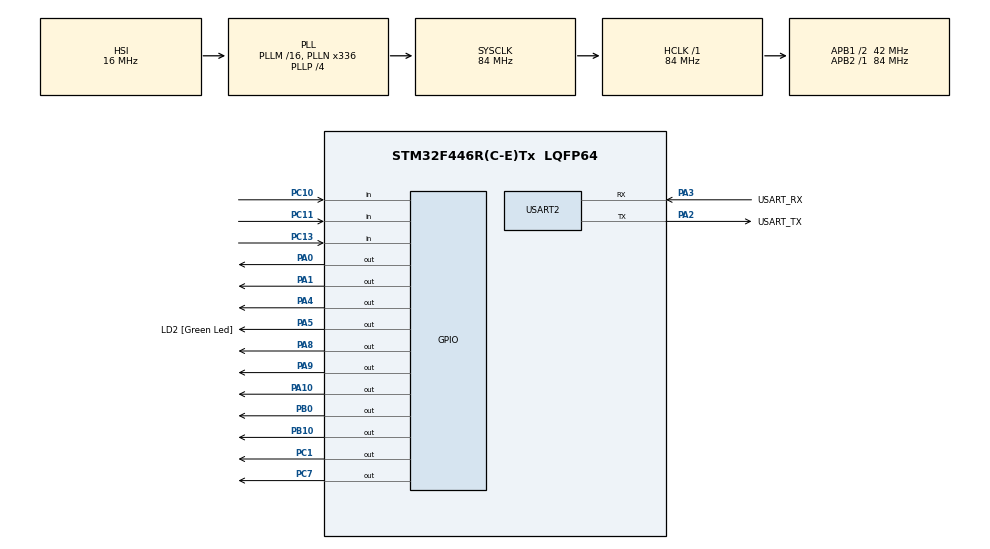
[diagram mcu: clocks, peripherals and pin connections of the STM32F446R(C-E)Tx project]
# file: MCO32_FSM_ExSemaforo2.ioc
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Mcu.Family=STM32F4
Mcu.Name=STM32F446R(C-E)Tx
Mcu.Package=LQFP64
NVIC.PriorityGroup=NVIC_PRIORITYGROUP_0
PA0-WKUP.Signal=GPIO_Output
PA1.Signal=GPIO_Output
PA10.Signal=GPIO_Output
PA13.GPIO_Label=TMS
PA13.Mode=Serial_Wire
PA13.Signal=SYS_JTMS-SWDIO
PA14.GPIO_Label=TCK
PA14.Mode=Serial_Wire
PA14.Signal=SYS_JTCK-SWCLK
PA2.GPIO_Label=USART_TX
PA2.Mode=Asynchronous
PA2.Signal=USART2_TX
PA3.GPIO_Label=USART_RX
PA3.Mode=Asynchronous
PA3.Signal=USART2_RX
PA4.Signal=GPIO_Output
PA5.GPIO_Label=LD2 [Green Led]
PA5.Signal=GPIO_Output
PA8.Signal=GPIO_Output
PA9.Signal=GPIO_Output
PB0.Signal=GPIO_Output
PB10.Signal=GPIO_Output
PB3.GPIO_Label=SWO
PB3.Signal=SYS_JTDO-SWO
PC1.Signal=GPIO_Output
PC10.GPIO_PuPd=GPIO_PULLUP
PC10.Signal=GPIO_Input
PC11.GPIO_PuPd=GPIO_PULLUP
PC11.Signal=GPIO_Input
PC13.GPIO_PuPd=GPIO_PULLUP
PC13.Signal=GPIO_Input
PC14-OSC32_IN.Mode=LSE-External-Oscillator
PC14-OSC32_IN.Signal=RCC_OSC32_IN
PC15-OSC32_OUT.Mode=LSE-External-Oscillator
PC15-OSC32_OUT.Signal=RCC_OSC32_OUT
PC7.Signal=GPIO_Output
PH0-OSC_IN.Mode=HSE-External-Oscillator
PH0-OSC_IN.Signal=RCC_OSC_IN
PH1-OSC_OUT.Mode=HSE-External-Oscillator
PH1-OSC_OUT.Signal=RCC_OSC_OUT
ProjectManager.HeapSize=0x200
ProjectManager.StackSize=0x400
ProjectManager.TargetToolchain=STM32CubeIDE
RCC.48MHZClocksFreq_Value=84000000
RCC.AHBFreq_Value=84000000
RCC.APB1CLKDivider=RCC_HCLK_DIV2
RCC.APB1Freq_Value=42000000
RCC.APB1TimFreq_Value=84000000
RCC.APB2Freq_Value=84000000
RCC.APB2TimFreq_Value=84000000
RCC.CortexFreq_Value=84000000
RCC.FLatency-AdvancedSettings=FLASH_LATENCY_2
RCC.HCLKFreq_Value=84000000
RCC.HSE_VALUE=8000000
RCC.HSI_VALUE=16000000
RCC.PLLN=336
RCC.PLLP=RCC_PLLP_DIV4
RCC.SYSCLKFreq_VALUE=84000000
RCC.SYSCLKSource=RCC_SYSCLKSOURCE_PLLCLK
RCC.USBFreq_Value=168000000
RCC.VCOOutputFreq_Value=336000000
TIM1.AutoReloadPreload=TIM_AUTORELOAD_PRELOAD_ENABLE
TIM1.Period=0xFFFF-1
TIM1.Prescaler=84-1
USART2.VirtualMode=VM_ASYNC
VP_TIM1_VS_ClockSourceINT.Mode=Internal
board=NUCLEO-F446RE

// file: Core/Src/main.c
/* USER CODE BEGIN Header */
/**
  ******************************************************************************
  * @file           : main.c
  * @brief          : Main program body
  ******************************************************************************
  * @attention
  *
  * Copyright (c) 2022 STMicroelectronics.
  * All rights reserved.
  *
  * This software is licensed under terms that can be found in the LICENSE file
  * in the root directory of this software component.
  * If no LICENSE file comes with this software, it is provided AS-IS.
  *
  ******************************************************************************
  */
/* USER CODE END Header */
#include "main.h"

/* USER CODE BEGIN Includes */
#include "fonts.h"
#include "tft.h"
#include "user_setting.h"
#include "functions.h"
#include "stdio.h"
/* USER CODE END Includes */

/* USER CODE BEGIN PD */
#define GREY 0x2104
/* USER CODE END PD */

TIM_HandleTypeDef htim1;

UART_HandleTypeDef huart2;

/* USER CODE BEGIN PV */
uint16_t ID = 0;
uint8_t sw1 = 0;
uint8_t sw2 = 0;
/* USER CODE END PV */

void SystemClock_Config(void);
static void MX_GPIO_Init(void);
static void MX_USART2_UART_Init(void);
static void MX_TIM1_Init(void);
/* USER CODE BEGIN PFP */
void drawScenery();
void transition(uint16_t veh, uint16_t ped);
/* USER CODE END PFP */

/* USER CODE BEGIN 0 */

//Representa um estado da FSM
struct State {
	unsigned int out[2]; //Saída para o estado
	unsigned short wait; //Tempo de espera do estado
	unsigned char next[4]; //Vetor de próximos estados
};
typedef const struct State tipoS;

//Apelidos para referenciar os estados da FSM
#define Vm 0 //Vermelho
#define Vd 1 //Verde
#define Am 2 //Amarelo
#define Ap 3 //Apagado
#define Vl 4 //Vermelho longo

//Estrutura de dados que corresponde ao diagrama de transição de estados da FSM
tipoS Fsm[5] = {	//saídaV	saídaP		wait	next=00	next=01 next=10 next = 11
					{{RED, 		GREEN}, 	5000, 	{Vd, 	Ap,		Vl,		Ap}},	//Estado Vm
					{{GREEN, 	RED}, 		5000, 	{Am, 	Am,		Am,		Am}},	//Estado Vd
					{{YELLOW, 	RED},		1000, 	{Vm, 	Ap,		Vm,		Ap}},	//Estado Am
					{{BLACK, 	RED}, 		1000, 	{Vm, 	Am,		Vm,		Am}},	//Estado Ap
					{{RED, 		GREEN}, 	5000, 	{Vd, 	Ap,		Vd,		Ap}}	//Estado Vl
};

unsigned char cState;

/* USER CODE END 0 */

int main(void)
{

  /* MCU Configuration--------------------------------------------------------*/

  /* Reset of all peripherals, Initializes the Flash interface and the Systick. */
  HAL_Init();

  /* USER CODE BEGIN Init */
  //tft_gpio_init();
  /* USER CODE END Init */

  /* Configure the system clock */
  SystemClock_Config();

  /* Initialize all configured peripherals */
  MX_GPIO_Init();
  MX_USART2_UART_Init();
  MX_TIM1_Init();
  /* USER CODE BEGIN 2 */
  /* Sequência de inicialização do LCD */
  tft_gpio_init(); //Inicializa os GPIOs do LCD (evita uso do CubeMX)
  HAL_TIM_Base_Start(&htim1); //Inicializa o Timer1 (base de tempo de us do LCD)
  ID = tft_readID(); //Lê o ID do LCD (poderia ser chamada pela inicialização do LCD)
  HAL_Delay(100);
  tft_init(ID); //Inicializa o LCD de acordo com seu ID
  setRotation(1); //Ajusta a orientação da tela (paisagem)
  drawScenery();

  cState = Vm;

  /* USER CODE END 2 */

  /* Infinite loop */
  /* USER CODE BEGIN WHILE */
  while (1)
  {
	  //1. Saída baseada no estado atual
	  transition(Fsm[cState].out[0], Fsm[cState].out[1]);

	  //2. Aguarda o tempo predefinido para o estado
	  HAL_Delay(Fsm[cState].wait);

	  //3. Lê as entradas
	  sw1 = HAL_GPIO_ReadPin(GPIOC, GPIO_PIN_10); //Entrada SW1 (botoeira de pedestres)
	  sw2 = HAL_GPIO_ReadPin(GPIOC, GPIO_PIN_11); //Entrada SW2 (sinal de falha)

	  //4. Vai para o próximo estado, que depende da entrada e do estado atual
	  cState = Fsm[cState].next[sw1+(sw2<<1)];

    /* USER CODE END WHILE */

  }
}

void SystemClock_Config(void)
{
  RCC_OscInitTypeDef RCC_OscInitStruct = {0};
  RCC_ClkInitTypeDef RCC_ClkInitStruct = {0};

  /** Configure the main internal regulator output voltage
  */
  __HAL_RCC_PWR_CLK_ENABLE();
  __HAL_PWR_VOLTAGESCALING_CONFIG(PWR_REGULATOR_VOLTAGE_SCALE3);

  /** Initializes the RCC Oscillators according to the specified parameters
  * in the RCC_OscInitTypeDef structure.
  */
  RCC_OscInitStruct.OscillatorType = RCC_OSCILLATORTYPE_HSI;
  RCC_OscInitStruct.HSIState = RCC_HSI_ON;
  RCC_OscInitStruct.HSICalibrationValue = RCC_HSICALIBRATION_DEFAULT;
  RCC_OscInitStruct.PLL.PLLState = RCC_PLL_ON;
  RCC_OscInitStruct.PLL.PLLSource = RCC_PLLSOURCE_HSI;
  RCC_OscInitStruct.PLL.PLLM = 16;
  RCC_OscInitStruct.PLL.PLLN = 336;
  RCC_OscInitStruct.PLL.PLLP = RCC_PLLP_DIV4;
  RCC_OscInitStruct.PLL.PLLQ = 2;
  RCC_OscInitStruct.PLL.PLLR = 2;
  if (HAL_RCC_OscConfig(&RCC_OscInitStruct) != HAL_OK)
  {
    Error_Handler();
  }

  /** Initializes the CPU, AHB and APB buses clocks
  */
  RCC_ClkInitStruct.ClockType = RCC_CLOCKTYPE_HCLK|RCC_CLOCKTYPE_SYSCLK
                              |RCC_CLOCKTYPE_PCLK1|RCC_CLOCKTYPE_PCLK2;
  RCC_ClkInitStruct.SYSCLKSource = RCC_SYSCLKSOURCE_PLLCLK;
  RCC_ClkInitStruct.AHBCLKDivider = RCC_SYSCLK_DIV1;
  RCC_ClkInitStruct.APB1CLKDivider = RCC_HCLK_DIV2;
  RCC_ClkInitStruct.APB2CLKDivider = RCC_HCLK_DIV1;

  if (HAL_RCC_ClockConfig(&RCC_ClkInitStruct, FLASH_LATENCY_2) != HAL_OK)
  {
    Error_Handler();
  }
}

static void MX_TIM1_Init(void)
{

  TIM_ClockConfigTypeDef sClockSourceConfig = {0};
  TIM_MasterConfigTypeDef sMasterConfig = {0};

  htim1.Instance = TIM1;
  htim1.Init.Prescaler = 84-1;
  htim1.Init.CounterMode = TIM_COUNTERMODE_UP;
  htim1.Init.Period = 0xFFFF-1;
  htim1.Init.ClockDivision = TIM_CLOCKDIVISION_DIV1;
  htim1.Init.RepetitionCounter = 0;
  htim1.Init.AutoReloadPreload = TIM_AUTORELOAD_PRELOAD_ENABLE;
  if (HAL_TIM_Base_Init(&htim1) != HAL_OK)
  {
    Error_Handler();
  }
  sClockSourceConfig.ClockSource = TIM_CLOCKSOURCE_INTERNAL;
  if (HAL_TIM_ConfigClockSource(&htim1, &sClockSourceConfig) != HAL_OK)
  {
    Error_Handler();
  }
  sMasterConfig.MasterOutputTrigger = TIM_TRGO_RESET;
  sMasterConfig.MasterSlaveMode = TIM_MASTERSLAVEMODE_DISABLE;
  if (HAL_TIMEx_MasterConfigSynchronization(&htim1, &sMasterConfig) != HAL_OK)
  {
    Error_Handler();
  }

}

static void MX_USART2_UART_Init(void)
{

  huart2.Instance = USART2;
  huart2.Init.BaudRate = 115200;
  huart2.Init.WordLength = UART_WORDLENGTH_8B;
  huart2.Init.StopBits = UART_STOPBITS_1;
  huart2.Init.Parity = UART_PARITY_NONE;
  huart2.Init.Mode = UART_MODE_TX_RX;
  huart2.Init.HwFlowCtl = UART_HWCONTROL_NONE;
  huart2.Init.OverSampling = UART_OVERSAMPLING_16;
  if (HAL_UART_Init(&huart2) != HAL_OK)
  {
    Error_Handler();
  }

}

static void MX_GPIO_Init(void)
{
  GPIO_InitTypeDef GPIO_InitStruct = {0};

  /* GPIO Ports Clock Enable */
  __HAL_RCC_GPIOC_CLK_ENABLE();
  __HAL_RCC_GPIOH_CLK_ENABLE();
  __HAL_RCC_GPIOA_CLK_ENABLE();
  __HAL_RCC_GPIOB_CLK_ENABLE();

  /*Configure GPIO pin Output Level */
  HAL_GPIO_WritePin(GPIOC, GPIO_PIN_1|GPIO_PIN_7, GPIO_PIN_RESET);

  /*Configure GPIO pin Output Level */
  HAL_GPIO_WritePin(GPIOA, GPIO_PIN_0|GPIO_PIN_1|GPIO_PIN_4|LD2_Pin
                          |GPIO_PIN_8|GPIO_PIN_9|GPIO_PIN_10, GPIO_PIN_RESET);

  /*Configure GPIO pin Output Level */
  HAL_GPIO_WritePin(GPIOB, GPIO_PIN_0|GPIO_PIN_10, GPIO_PIN_RESET);

  /*Configure GPIO pins : PC13 PC10 PC11 */
  GPIO_InitStruct.Pin = GPIO_PIN_13|GPIO_PIN_10|GPIO_PIN_11;
  GPIO_InitStruct.Mode = GPIO_MODE_INPUT;
  GPIO_InitStruct.Pull = GPIO_PULLUP;
  HAL_GPIO_Init(GPIOC, &GPIO_InitStruct);

  /*Configure GPIO pins : PC1 PC7 */
  GPIO_InitStruct.Pin = GPIO_PIN_1|GPIO_PIN_7;
  GPIO_InitStruct.Mode = GPIO_MODE_OUTPUT_PP;
  GPIO_InitStruct.Pull = GPIO_NOPULL;
  GPIO_InitStruct.Speed = GPIO_SPEED_FREQ_LOW;
  HAL_GPIO_Init(GPIOC, &GPIO_InitStruct);

  /*Configure GPIO pins : PA0 PA1 PA4 LD2_Pin
                           PA8 PA9 PA10 */
  GPIO_InitStruct.Pin = GPIO_PIN_0|GPIO_PIN_1|GPIO_PIN_4|LD2_Pin
                          |GPIO_PIN_8|GPIO_PIN_9|GPIO_PIN_10;
  GPIO_InitStruct.Mode = GPIO_MODE_OUTPUT_PP;
  GPIO_InitStruct.Pull = GPIO_NOPULL;
  GPIO_InitStruct.Speed = GPIO_SPEED_FREQ_LOW;
  HAL_GPIO_Init(GPIOA, &GPIO_InitStruct);

  /*Configure GPIO pins : PB0 PB10 */
  GPIO_InitStruct.Pin = GPIO_PIN_0|GPIO_PIN_10;
  GPIO_InitStruct.Mode = GPIO_MODE_OUTPUT_PP;
  GPIO_InitStruct.Pull = GPIO_NOPULL;
  GPIO_InitStruct.Speed = GPIO_SPEED_FREQ_LOW;
  HAL_GPIO_Init(GPIOB, &GPIO_InitStruct);

}

/* USER CODE BEGIN 4 */

/**
 * @brief Desenha o cenário
 */
void drawScenery()
{
	fillScreen(WHITE); //Preenche a tela em branco
	fillRect(35, 35, 75, 180, GREY); //Semáforo de veículos
	fillCircle(71, 63, 20, RED); //Vermelho
	fillCircle(71, 124, 20, YELLOW); //Amarelo
	fillCircle(71, 185, 20, GREEN); //Verde

	fillRect(212, 46, 75, 140, GREY); //Semáforo de veículos
	fillRoundRect(224, 64, 50, 50, 5, RED); //Vermelho
	fillRoundRect(224, 127, 50, 50, 5, GREEN); //Verde
}

void transition(uint16_t veh, uint16_t ped)
{
	fillCircle(71, 63, 20, BLACK); //Vermelho
	fillCircle(71, 124, 20, BLACK); //Amarelo
	fillCircle(71, 185, 20, BLACK); //Verde

	fillRoundRect(224, 64, 50, 50, 5, BLACK); //Vermelho
	fillRoundRect(224, 127, 50, 50, 5, BLACK); //Verde

	switch(veh)
	{
	case GREEN:
		fillCircle(71, 185, 20, GREEN); //Verde
		break;

	case RED:
		fillCircle(71, 63, 20, RED); //Vermelho
		break;

	case YELLOW:
		fillCircle(71, 124, 20, YELLOW); //Amarelo
		break;
	}

	switch(ped)
	{
	case GREEN:
		fillRoundRect(224, 127, 50, 50, 5, GREEN); //Verde
		break;

	case RED:
		fillRoundRect(224, 64, 50, 50, 5, RED); //Vermelho
		break;
	}
}

/* USER CODE END 4 */

void Error_Handler(void)
{
  __disable_irq();
  while (1)
  {
  }
}
